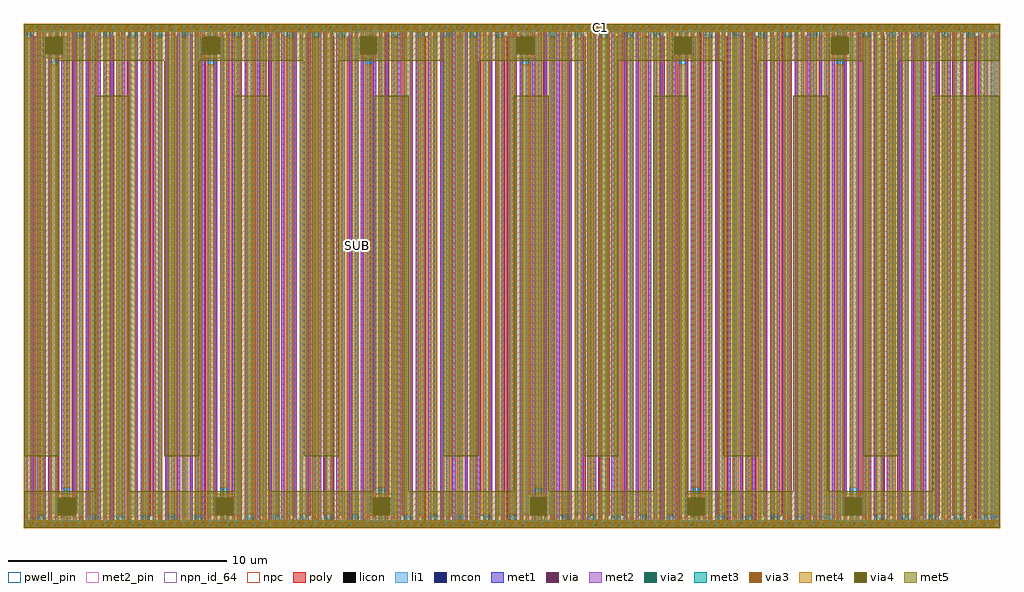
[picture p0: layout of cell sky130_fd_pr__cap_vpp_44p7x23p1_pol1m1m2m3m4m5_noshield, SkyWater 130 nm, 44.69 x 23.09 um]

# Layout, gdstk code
import gdstk
lib = gdstk.Library(unit=1e-6, precision=1e-09)
def R(c, l, rs):  # rectangles x0, y0, x1, y1
    for r in rs: c.add(gdstk.rectangle(r[:2], r[2:], *l))
def A(c, l, x, y, w, h, nx, ny, dx, dy):  # array of equal rectangles
    R(c, l, [(x+i*dx, y+j*dy, x+i*dx+w, y+j*dy+h) for i in range(nx) for j in range(ny)])
poly = (66, 20)
licon = (66, 44)
li1 = (67, 20)
mcon = (67, 44)
met1 = (68, 20)
via = (68, 44)
met2_pin = (69, 16)
met2 = (69, 20)
via2 = (69, 44)
met3 = (70, 20)
via3 = (70, 44)
met4 = (71, 20)
via4 = (71, 44)
met5 = (72, 20)
npn_id_64 = (82, 64)
npc = (95, 20)
pwell_pin = (122, 16)

sky130_fd_pr__cap_vpp_44 = lib.new_cell('sky130_fd_pr__cap_vpp_44p7x23p1_pol1m1m2m3m4m5_noshield')
A(sky130_fd_pr__cap_vpp_44, poly, 0.36, 0.33, 0.15, 22.18, 61, 1, 0.72, 0)
A(sky130_fd_pr__cap_vpp_44, poly, 0, 0.54, 0.15, 22.18, 62, 1, 0.72, 0)
R(sky130_fd_pr__cap_vpp_44, poly, [(0,0,44.65,0.33), (44.28,0.33,44.65,22.51), (0,22.72,44.65,23.05)])
A(sky130_fd_pr__cap_vpp_44, licon, 0.17, 0.08, 0.17, 0.17, 130, 2, 0.34, 22.72)
A(sky130_fd_pr__cap_vpp_44, li1, 0, 0.33, 0.14, 22.25, 79, 1, 0.56, 0)
A(sky130_fd_pr__cap_vpp_44, li1, 0.28, 0.47, 0.14, 22.25, 79, 1, 0.56, 0)
R(sky130_fd_pr__cap_vpp_44, li1, [(0,0,44.65,0.33), (44.24,0.33,44.65,22.58), (0,22.72,44.65,23.05)])
A(sky130_fd_pr__cap_vpp_44, mcon, 0.19, 0.08, 0.17, 0.17, 123, 2, 0.36, 22.72)
A(sky130_fd_pr__cap_vpp_44, met1, 0.28, 0.33, 0.14, 22.25, 79, 1, 0.56, 0)
A(sky130_fd_pr__cap_vpp_44, met1, 0, 0.47, 0.14, 22.25, 79, 1, 0.56, 0)
R(sky130_fd_pr__cap_vpp_44, met1, [(0,0,44.65,0.33), (44.24,0.47,44.65,22.72), (0,22.72,44.65,23.05)])
R(sky130_fd_pr__cap_vpp_44, via, [(0.175,0.09,0.325,0.24), (0.495,0.09,0.645,0.24), (1.235,0.09,1.385,0.24), (1.555,0.09,1.705,0.24), (2.355,0.09,2.505,0.24), (2.675,0.09,2.825,0.24), (3.475,0.09,3.625,0.24), (3.795,0.09,3.945,0.24), (4.595,0.09,4.745,0.24), (4.915,0.09,5.065,0.24), (5.715,0.09,5.865,0.24), (6.035,0.09,6.185,0.24), (6.835,0.09,6.985,0.24), (7.155,0.09,7.305,0.24), (7.955,0.09,8.105,0.24), (8.275,0.09,8.425,0.24), (9.075,0.09,9.225,0.24), (9.395,0.09,9.545,0.24), (10.195,0.09,10.345,0.24), (10.515,0.09,10.665,0.24), (11.315,0.09,11.465,0.24), (11.635,0.09,11.785,0.24), (12.435,0.09,12.585,0.24), (12.755,0.09,12.905,0.24), (13.555,0.09,13.705,0.24), (13.875,0.09,14.025,0.24), (14.675,0.09,14.825,0.24), (14.995,0.09,15.145,0.24), (15.795,0.09,15.945,0.24), (16.115,0.09,16.265,0.24), (16.915,0.09,17.065,0.24), (17.235,0.09,17.385,0.24), (18.035,0.09,18.185,0.24), (18.355,0.09,18.505,0.24), (19.155,0.09,19.305,0.24), (19.475,0.09,19.625,0.24), (20.275,0.09,20.425,0.24), (20.595,0.09,20.745,0.24), (21.395,0.09,21.545,0.24), (21.715,0.09,21.865,0.24), (22.515,0.09,22.665,0.24), (22.835,0.09,22.985,0.24), (23.635,0.09,23.785,0.24), (23.955,0.09,24.105,0.24), (24.755,0.09,24.905,0.24), (25.075,0.09,25.225,0.24), (25.875,0.09,26.025,0.24), (26.195,0.09,26.345,0.24), (26.995,0.09,27.145,0.24), (27.315,0.09,27.465,0.24), (28.115,0.09,28.265,0.24), (28.435,0.09,28.585,0.24), (29.235,0.09,29.385,0.24), (29.555,0.09,29.705,0.24), (30.355,0.09,30.505,0.24), (30.675,0.09,30.825,0.24), (31.475,0.09,31.625,0.24), (31.795,0.09,31.945,0.24), (32.595,0.09,32.745,0.24), (32.915,0.09,33.065,0.24), (33.715,0.09,33.865,0.24), (34.035,0.09,34.185,0.24), (34.835,0.09,34.985,0.24), (35.155,0.09,35.305,0.24), (35.955,0.09,36.105,0.24), (36.275,0.09,36.425,0.24), (37.075,0.09,37.225,0.24), (37.395,0.09,37.545,0.24), (38.195,0.09,38.345,0.24), (38.515,0.09,38.665,0.24), (39.315,0.09,39.465,0.24), (39.635,0.09,39.785,0.24), (40.435,0.09,40.585,0.24), (40.755,0.09,40.905,0.24), (41.555,0.09,41.705,0.24), (41.875,0.09,42.025,0.24), (42.675,0.09,42.825,0.24), (42.995,0.09,43.145,0.24), (43.795,0.09,43.945,0.24), (44.115,0.09,44.265,0.24), (0.395,22.81,0.545,22.96), (0.715,22.81,0.865,22.96), (1.515,22.81,1.665,22.96), (1.835,22.81,1.985,22.96), (2.635,22.81,2.785,22.96), (2.955,22.81,3.105,22.96), (3.755,22.81,3.905,22.96), (4.075,22.81,4.225,22.96), (4.875,22.81,5.025,22.96), (5.195,22.81,5.345,22.96), (5.995,22.81,6.145,22.96), (6.315,22.81,6.465,22.96), (7.115,22.81,7.265,22.96), (7.435,22.81,7.585,22.96), (8.235,22.81,8.385,22.96), (8.555,22.81,8.705,22.96), (9.355,22.81,9.505,22.96), (9.675,22.81,9.825,22.96), (10.475,22.81,10.625,22.96), (10.795,22.81,10.945,22.96), (11.595,22.81,11.745,22.96), (11.915,22.81,12.065,22.96), (12.715,22.81,12.865,22.96), (13.035,22.81,13.185,22.96), (13.835,22.81,13.985,22.96), (14.155,22.81,14.305,22.96), (14.955,22.81,15.105,22.96), (15.275,22.81,15.425,22.96), (16.075,22.81,16.225,22.96), (16.395,22.81,16.545,22.96), (17.195,22.81,17.345,22.96), (17.515,22.81,17.665,22.96), (18.315,22.81,18.465,22.96), (18.635,22.81,18.785,22.96), (19.435,22.81,19.585,22.96), (19.755,22.81,19.905,22.96), (20.555,22.81,20.705,22.96), (20.875,22.81,21.025,22.96), (21.675,22.81,21.825,22.96), (21.995,22.81,22.145,22.96), (22.795,22.81,22.945,22.96), (23.115,22.81,23.265,22.96), (23.915,22.81,24.065,22.96), (24.235,22.81,24.385,22.96), (25.035,22.81,25.185,22.96), (25.355,22.81,25.505,22.96), (26.155,22.81,26.305,22.96), (26.475,22.81,26.625,22.96), (27.275,22.81,27.425,22.96), (27.595,22.81,27.745,22.96), (28.395,22.81,28.545,22.96), (28.715,22.81,28.865,22.96), (29.515,22.81,29.665,22.96), (29.835,22.81,29.985,22.96), (30.635,22.81,30.785,22.96), (30.955,22.81,31.105,22.96), (31.755,22.81,31.905,22.96), (32.075,22.81,32.225,22.96), (32.875,22.81,33.025,22.96), (33.195,22.81,33.345,22.96), (33.995,22.81,34.145,22.96), (34.315,22.81,34.465,22.96), (35.115,22.81,35.265,22.96), (35.435,22.81,35.585,22.96), (36.235,22.81,36.385,22.96), (36.555,22.81,36.705,22.96), (37.355,22.81,37.505,22.96), (37.675,22.81,37.825,22.96), (38.475,22.81,38.625,22.96), (38.795,22.81,38.945,22.96), (39.595,22.81,39.745,22.96), (39.915,22.81,40.065,22.96), (40.715,22.81,40.865,22.96), (41.035,22.81,41.185,22.96), (41.835,22.81,41.985,22.96), (42.155,22.81,42.305,22.96), (42.955,22.81,43.105,22.96), (43.275,22.81,43.425,22.96)])
R(sky130_fd_pr__cap_vpp_44, met2_pin, [(26.275,22.81,26.535,22.99), (25.785,22.875,25.88,22.975)])
A(sky130_fd_pr__cap_vpp_44, met2, 0, 0, 0.7, 0.33, 39, 1, 1.12, 0)
A(sky130_fd_pr__cap_vpp_44, met2, 0.84, 0, 0.14, 0.47, 39, 1, 1.12, 0)
A(sky130_fd_pr__cap_vpp_44, met2, 0, 0.33, 0.14, 22.25, 79, 1, 0.56, 0)
A(sky130_fd_pr__cap_vpp_44, met2, 0.28, 0.47, 0.14, 22.25, 79, 1, 0.56, 0)
A(sky130_fd_pr__cap_vpp_44, met2, 0, 22.58, 0.14, 0.47, 39, 1, 1.12, 0)
A(sky130_fd_pr__cap_vpp_44, met2, 0.28, 22.72, 0.7, 0.33, 39, 1, 1.12, 0)
R(sky130_fd_pr__cap_vpp_44, met2, [(43.68,0,44.65,0.33), (44.24,0.33,44.65,22.58), (43.54,22.72,44.65,23.05)])
A(sky130_fd_pr__cap_vpp_44, via2, 0.25, 0.065, 0.2, 0.2, 40, 1, 1.12, 0)
A(sky130_fd_pr__cap_vpp_44, via2, 0.53, 22.785, 0.2, 0.2, 39, 1, 1.12, 0)
A(sky130_fd_pr__cap_vpp_44, met3, 0.6, 0.33, 0.3, 22.09, 36, 1, 1.2, 0)
A(sky130_fd_pr__cap_vpp_44, met3, 0, 0.63, 0.3, 22.09, 37, 1, 1.2, 0)
R(sky130_fd_pr__cap_vpp_44, met3, [(0,0,44.65,0.33), (43.8,0.33,44.65,22.42), (0,22.72,44.65,23.05)])
A(sky130_fd_pr__cap_vpp_44, via3, 0.2, 0.065, 0.2, 0.2, 111, 2, 0.4, 22.72)
A(sky130_fd_pr__cap_vpp_44, met4, 1.2, 0.33, 0.3, 20.865, 6, 1, 7.2, 0)
A(sky130_fd_pr__cap_vpp_44, met4, 1.5, 0.33, 0.9, 0.045, 6, 1, 7.2, 0)
A(sky130_fd_pr__cap_vpp_44, met4, 2.4, 0.33, 0.3, 22.09, 5, 1, 1.2, 0)
A(sky130_fd_pr__cap_vpp_44, met4, 9.6, 0.33, 0.3, 22.09, 5, 1, 1.2, 0)
A(sky130_fd_pr__cap_vpp_44, met4, 16.8, 0.33, 0.3, 22.09, 5, 1, 1.2, 0)
A(sky130_fd_pr__cap_vpp_44, met4, 24, 0.33, 0.3, 22.09, 5, 1, 1.2, 0)
A(sky130_fd_pr__cap_vpp_44, met4, 31.2, 0.33, 0.3, 22.09, 5, 1, 1.2, 0)
A(sky130_fd_pr__cap_vpp_44, met4, 38.4, 0.33, 0.3, 22.09, 5, 1, 1.2, 0)
A(sky130_fd_pr__cap_vpp_44, met4, 1.36, 0.375, 1.18, 1.18, 6, 1, 7.2, 0)
A(sky130_fd_pr__cap_vpp_44, met4, 3, 0.63, 0.3, 22.09, 5, 1, 1.2, 0)
A(sky130_fd_pr__cap_vpp_44, met4, 10.2, 0.63, 0.3, 22.09, 5, 1, 1.2, 0)
A(sky130_fd_pr__cap_vpp_44, met4, 17.4, 0.63, 0.3, 22.09, 5, 1, 1.2, 0)
A(sky130_fd_pr__cap_vpp_44, met4, 24.6, 0.63, 0.3, 22.09, 5, 1, 1.2, 0)
A(sky130_fd_pr__cap_vpp_44, met4, 31.8, 0.63, 0.3, 22.09, 5, 1, 1.2, 0)
A(sky130_fd_pr__cap_vpp_44, met4, 39, 0.63, 0.3, 22.09, 4, 1, 1.2, 0)
A(sky130_fd_pr__cap_vpp_44, met4, 1.8, 1.855, 0.3, 20.865, 6, 1, 7.2, 0)
A(sky130_fd_pr__cap_vpp_44, met4, 0.76, 21.495, 1.18, 1.18, 6, 1, 7.2, 0)
A(sky130_fd_pr__cap_vpp_44, met4, 0.9, 22.675, 0.9, 0.045, 6, 1, 7.2, 0)
R(sky130_fd_pr__cap_vpp_44, met4, [(0,0,44.65,0.33), (0,0.33,0.3,22.42), (0.6,0.63,0.9,22.72), (43.8,0.63,44.65,22.72), (0,22.72,44.65,23.05)])
A(sky130_fd_pr__cap_vpp_44, via4, 1.55, 0.565, 0.8, 0.8, 6, 1, 7.2, 0)
A(sky130_fd_pr__cap_vpp_44, via4, 0.95, 21.685, 0.8, 0.8, 6, 1, 7.2, 0)
A(sky130_fd_pr__cap_vpp_44, met5, 1.24, 0.255, 1.42, 1.42, 6, 1, 7.2, 0)
A(sky130_fd_pr__cap_vpp_44, met5, 3.2, 1.675, 1.6, 18.1, 6, 1, 6.4, 0)
A(sky130_fd_pr__cap_vpp_44, met5, 0, 3.275, 1.6, 18.1, 7, 1, 6.4, 0)
A(sky130_fd_pr__cap_vpp_44, met5, 0.64, 21.375, 1.42, 1.42, 6, 1, 7.2, 0)
R(sky130_fd_pr__cap_vpp_44, met5, [(0,0,44.65,1.675), (41.6,1.675,44.65,19.775), (0,21.375,44.65,23.05)])
R(sky130_fd_pr__cap_vpp_44, npn_id_64, [(0.13,0.21,44.46,22.84)])
R(sky130_fd_pr__cap_vpp_44, npc, [(-0.02,-0.02,44.67,23.07)])
R(sky130_fd_pr__cap_vpp_44, pwell_pin, [(15.205,12.785,15.31,13.03)])
sky130_fd_pr__cap_vpp_44.add(gdstk.Label('C1', (26.38,22.9), layer=69, texttype=5))
sky130_fd_pr__cap_vpp_44.add(gdstk.Label('C0', (25.82,22.935), layer=69, texttype=5))
sky130_fd_pr__cap_vpp_44.add(gdstk.Label('SUB', (15.26,12.91), layer=64, texttype=59))

lib.write_gds('sky130_fd_pr__cap_vpp_44p7x23p1_pol1m1m2m3m4m5_noshield.gds')
